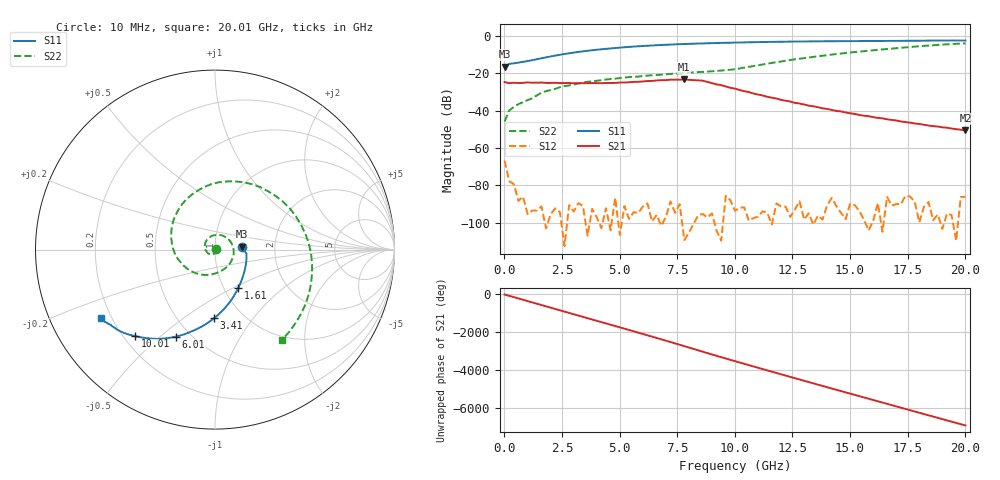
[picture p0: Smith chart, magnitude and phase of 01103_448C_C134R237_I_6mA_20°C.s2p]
!;Filter: kein Filter
!auto
!3/21/2019 9:27:54 AM
!3/21/2019 9:28:10 AM
!SP-Measurements Prober G4
!SP-Measurements Prober G4
!134
!237
!12
!20
!-20
!0.00599970
!2.02
!0.74959551
!0.74959551
# Hz S  RI  R 50
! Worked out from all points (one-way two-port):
!   101 points, 10 MHz to 20.01 GHz, reference 50 ohm
!   highest |S21| = -23.37 dB at 7.81 GHz (marker M1); lowest = -50.6 dB at 20.01 GHz (marker M2)
!   lowest |S11| = -16.5 dB at 10 MHz (marker M3), VSWR 1.35, Z = 67.5 + j2.14 ohm
!   |S11| at or under -10 dB: start of sweep to 2.501 GHz
!   |S22| runs from -45.8 to -4.1 dB; largest |S21 - S12| = 0.068
!   S11 on the Smith chart (normalised r, x): 10 MHz: 1.35, +0.04; 1.61 GHz: 1.17, -0.53; 3.41 GHz: 0.74, -0.66; 6.01 GHz: 0.42, -0.57; 10.01 GHz: 0.25, -0.42; 20.01 GHz: 0.16, -0.27
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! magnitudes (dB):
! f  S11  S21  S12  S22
! 10 MHz  -16.5  -24.8  -66.8  -45.8
! 210 MHz  -15.1  -25.4  -77.8  -40.0
! 410 MHz  -14.8  -25.2  -79.3  -38.1
! 610 MHz  -14.4  -25.3  -88.3  -36.6
! 1.01 GHz  -13.5  -25.0  -95.4  -34.4
! 1.21 GHz  -13.1  -25.1  -93.4  -33.5
! 1.61 GHz  -12.1  -25.0  -91.3  -30.4
! 2.61 GHz  -9.8  -25.3  -112.5  -26.9
! 3.41 GHz  -8.4  -25.3  -91.0  -25.1
! 4.81 GHz  -6.6  -25.2  -86.7  -22.9
! 6.01 GHz  -5.5  -24.5  -91.3  -21.5
! 6.81 GHz  -5.0  -23.8  -101.6  -20.8
! 7.81 GHz  -4.4  -23.4  -109.3  -19.9
! 8.61 GHz  -4.1  -24.1  -95.3  -19.3
! 10.01 GHz  -3.7  -28.3  -93.6  -17.9
! 11.41 GHz  -3.3  -32.7  -94.7  -14.9
! 12.61 GHz  -3.1  -35.9  -92.9  -12.6
! 13.41 GHz  -3.0  -37.7  -100.9  -11.3
! 15.41 GHz  -2.9  -42.4  -93.8  -8.5
! 16.81 GHz  -2.8  -45.0  -90.8  -6.9
! 18.41 GHz  -2.6  -48.0  -88.9  -5.3
! 20.01 GHz  -2.6  -50.6  -86.2  -4.1
